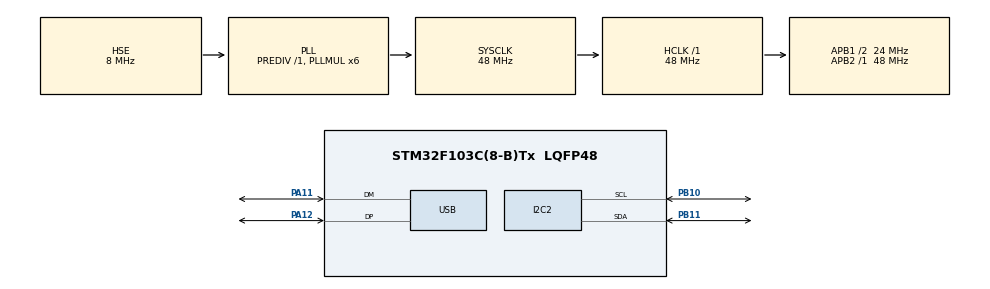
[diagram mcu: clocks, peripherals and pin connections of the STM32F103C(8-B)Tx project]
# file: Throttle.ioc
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I2C2.I2C_Mode=I2C_Fast
Mcu.Family=STM32F1
Mcu.Name=STM32F103C(8-B)Tx
Mcu.Package=LQFP48
NVIC.PriorityGroup=NVIC_PRIORITYGROUP_4
NVIC.USB_LP_CAN1_RX0_IRQn=true\:0\:0\:false\:false\:true\:false\:true\:true
PA11.Mode=Device
PA11.Signal=USB_DM
PA12.Mode=Device
PA12.Signal=USB_DP
PA13.Mode=Serial_Wire
PA13.Signal=SYS_JTMS-SWDIO
PA14.Mode=Serial_Wire
PA14.Signal=SYS_JTCK-SWCLK
PB10.Mode=I2C
PB10.Signal=I2C2_SCL
PB11.Mode=I2C
PB11.Signal=I2C2_SDA
PD0-OSC_IN.Mode=HSE-External-Oscillator
PD0-OSC_IN.Signal=RCC_OSC_IN
PD1-OSC_OUT.Mode=HSE-External-Oscillator
PD1-OSC_OUT.Signal=RCC_OSC_OUT
ProjectManager.HeapSize=0x200
ProjectManager.StackSize=0x400
ProjectManager.TargetToolchain=STM32CubeIDE
RCC.AHBFreq_Value=48000000
RCC.APB1CLKDivider=RCC_HCLK_DIV2
RCC.APB1Freq_Value=24000000
RCC.APB1TimFreq_Value=48000000
RCC.APB2Freq_Value=48000000
RCC.APB2TimFreq_Value=48000000
RCC.HCLKFreq_Value=48000000
RCC.PLLMUL=RCC_PLL_MUL6
RCC.SYSCLKFreq_VALUE=48000000
RCC.SYSCLKSource=RCC_SYSCLKSOURCE_PLLCLK
RCC.USBFreq_Value=48000000
USB_DEVICE.CLASS_NAME_FS=HID
USB_DEVICE.PRODUCT_STRING_HID_FS=Throttle
USB_DEVICE.VirtualMode=Hid
USB_DEVICE.VirtualModeFS=Hid_FS
VP_USB_DEVICE_VS_USB_DEVICE_HID_FS.Mode=HID_FS
board=custom

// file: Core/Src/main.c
/* USER CODE BEGIN Header */
/**
  ******************************************************************************
  * @file           : main.c
  * @brief          : Main program body
  ******************************************************************************
  * @attention
  *
  * Copyright (c) 2023 STMicroelectronics.
  * All rights reserved.
  *
  * This software is licensed under terms that can be found in the LICENSE file
  * in the root directory of this software component.
  * If no LICENSE file comes with this software, it is provided AS-IS.
  *
  ******************************************************************************
  */
/* USER CODE END Header */
#include <ads1115.h>
#include "main.h"
#include "usb_device.h"

/* USER CODE BEGIN Includes */
#include <stdbool.h>
#include <stdint.h>
#include <stdlib.h>
#include "usbd_hid.h"
#include "usb_hid_keys.h"
/* USER CODE END Includes */

/* USER CODE BEGIN PTD */
typedef enum
{
  AXIS_PROP = 0,
  AXIS_THROTTLE,
  AXIS_MIXTURE

} axis_index_t;
/* USER CODE END PTD */

/* USER CODE BEGIN PD */
#define PROP_LOWER_LIMIT       600
#define PROP_CENTER          14914
#define PROP_UPPER_LIMIT     26300

#define THROTTLE_LOWER_LIMIT    10
#define THROTTLE_CENTER      11435
#define THROTTLE_UPPER_LIMIT 25300

#define MIXTURE_LOWER_LIMIT     10
#define MIXTURE_CENTER       13740
#define MIXTURE_UPPER_LIMIT  26300
/* USER CODE END PD */

I2C_HandleTypeDef hi2c2;

/* USER CODE BEGIN PV */
static uint16_t axis_data[3] = { 0 };
/* USER CODE END PV */

/* Private function pro
 * totypes -----------------------------------------------*/
void SystemClock_Config(void);
static void MX_GPIO_Init(void);
static void MX_I2C2_Init(void);

int main(void)
{
  /* USER CODE BEGIN 1 */
  extern USBD_HandleTypeDef hUsbDeviceFS;
  uint8_t hid_report[8] = { 0 };
  /* USER CODE END 1 */

  /* MCU Configuration--------------------------------------------------------*/

  /* Reset of all peripherals, Initializes the Flash interface and the Systick. */
  HAL_Init();

  /* Configure the system clock */
  SystemClock_Config();

  /* Initialize all configured peripherals */
  MX_GPIO_Init();
  MX_USB_DEVICE_Init();
  MX_I2C2_Init();
  /* USER CODE BEGIN 2 */
  ads1115_init();
  /* USER CODE END 2 */

  /* Infinite loop */
  while (1)
  {

    /* USER CODE BEGIN 3 */
    for (axis_index_t index = 0; index <= AXIS_MIXTURE; index += 1)
    {
      static uint64_t prev_percentage[3] = { 50, 50, 50 };

      uint8_t  channel;
      int16_t  lower_limit;
      int16_t  center;
      int16_t  upper_limit;
      uint64_t percentage[3];

      switch (index)
      {
        case AXIS_PROP:
          channel     = AXIS_THROTTLE;
          lower_limit = PROP_LOWER_LIMIT;
          center      = PROP_CENTER;
          upper_limit = PROP_UPPER_LIMIT;
          break;
        case AXIS_THROTTLE:
          channel     = AXIS_MIXTURE;
          lower_limit = THROTTLE_LOWER_LIMIT;
          center      = THROTTLE_CENTER;
          upper_limit = THROTTLE_UPPER_LIMIT;
          break;
        case AXIS_MIXTURE:
          channel     = AXIS_PROP;
          lower_limit = MIXTURE_LOWER_LIMIT;
          center      = MIXTURE_CENTER;
          upper_limit = MIXTURE_UPPER_LIMIT;
          break;
      }

      ads1115_read((int16_t*)&axis_data[index], lower_limit, upper_limit);
      ads1115_set_channel(channel);

      if (axis_data[index] <= center)
      {
        percentage[index] = (50ULL * axis_data[index] + (center - lower_limit) / 2) / (center - lower_limit);

        if (percentage[index] > 50)
        {
          percentage[index] = 50;
        }
        else if (percentage[index] < 0)
        {
          percentage[index] = 0;
        }
      }
      else
      {
        percentage[index] = (100ULL * axis_data[index] + (upper_limit - lower_limit) / 2) / (upper_limit - lower_limit);

        if (percentage[index] > 100)
        {
          percentage[index] = 100;
        }
        else if (percentage[index] < 51)
        {
          percentage[index] = 51;
        }
      }

      hid_report[0] = KEY_MOD_LCTRL;

      switch (index)
      {
        case AXIS_PROP:
          break;
        case AXIS_THROTTLE:
          hid_report[2] = KEY_T;

          switch (percentage[index])
          {
            case 36:
            case 37:
            case 38:
            case 39:
            case 40:
              hid_report[3] = KEY_0;
              break;
            case 45:
              hid_report[3] = KEY_1;
              break;
            case 50:
                hid_report[3] = KEY_2;
              break;
            case 55:
              hid_report[3] = KEY_3;
              break;
            case 60:
              hid_report[3] = KEY_4;
              break;
            case 65:
              hid_report[3] = KEY_5;
              break;
            case 70:
              hid_report[3] = KEY_6;
              break;
            case 75:
              hid_report[3] = KEY_7;
              break;
            case 80:
              hid_report[3] = KEY_8;
              break;
            case 90:
              hid_report[3] = KEY_9;
            case 100:
              hid_report[3] = KEY_EQUAL;
              break;
            default:
              if ((prev_percentage[index] < percentage[index]))
              {
                hid_report[3] = KEY_RIGHTBRACE;
              }
              else if ((prev_percentage[index] > percentage[index]) || (0 == prev_percentage[index] && 0 == percentage[index]))
              {
                hid_report[3] = KEY_LEFTBRACE;
              }
              else
              {
                prev_percentage[index] = percentage[index];
                HAL_Delay(10);
                continue;
              }
              break;
          }
          break;

        case AXIS_MIXTURE:
          hid_report[2] = KEY_M;

          if (percentage[index] == 0) /* CUT OFF. */
          {
            hid_report[3] = KEY_0;
          }
          else if (prev_percentage[index] == 0) /* Transition from CUT OFF. */
          {
            if (percentage[index] >= 70) /* HIGH IDLE. */
            {
              hid_report[3] = KEY_1;
            }
            else if (percentage[index] > 0) /* LOW IDLE. */
            {
              hid_report[3] = KEY_RIGHTBRACE;
            }
          }
          else
          {
            if ((percentage[index] >= 70)) /* HIGH IDLE. */
            {
              hid_report[3] = KEY_1;
            }
            else if ((percentage[index] <= 30) && (percentage[index] != 0))
            {
              hid_report[3] = KEY_LEFTBRACE; /* LOW IDLE. */
            }
            else
            {
              prev_percentage[index] = percentage[index];
              HAL_Delay(10);
              continue;
            }
          }
          break;
      }

      if ((index == 1) ||
          ((index == 2) && ((abs(prev_percentage[index] - percentage[index]) >= 1))))
      {
        USBD_HID_SendReport(&hUsbDeviceFS, hid_report, 8);
        HAL_Delay(20);

        /* Release keys. */
        for (int i = 0; i < 8; i += 1)
        {
          hid_report[i] = KEY_NONE;
        }
        USBD_HID_SendReport(&hUsbDeviceFS, hid_report, 8);
      }

      prev_percentage[index] = percentage[index];
      HAL_Delay(10);
    }
  }
  /* USER CODE END 3 */
}

void SystemClock_Config(void)
{
  RCC_OscInitTypeDef RCC_OscInitStruct = {0};
  RCC_ClkInitTypeDef RCC_ClkInitStruct = {0};
  RCC_PeriphCLKInitTypeDef PeriphClkInit = {0};

  /** Initializes the RCC Oscillators according to the specified parameters
  * in the RCC_OscInitTypeDef structure.
  */
  RCC_OscInitStruct.OscillatorType = RCC_OSCILLATORTYPE_HSE;
  RCC_OscInitStruct.HSEState = RCC_HSE_ON;
  RCC_OscInitStruct.HSEPredivValue = RCC_HSE_PREDIV_DIV1;
  RCC_OscInitStruct.HSIState = RCC_HSI_ON;
  RCC_OscInitStruct.PLL.PLLState = RCC_PLL_ON;
  RCC_OscInitStruct.PLL.PLLSource = RCC_PLLSOURCE_HSE;
  RCC_OscInitStruct.PLL.PLLMUL = RCC_PLL_MUL6;
  if (HAL_RCC_OscConfig(&RCC_OscInitStruct) != HAL_OK)
  {
    Error_Handler();
  }

  /** Initializes the CPU, AHB and APB buses clocks
  */
  RCC_ClkInitStruct.ClockType = RCC_CLOCKTYPE_HCLK|RCC_CLOCKTYPE_SYSCLK
                              |RCC_CLOCKTYPE_PCLK1|RCC_CLOCKTYPE_PCLK2;
  RCC_ClkInitStruct.SYSCLKSource = RCC_SYSCLKSOURCE_PLLCLK;
  RCC_ClkInitStruct.AHBCLKDivider = RCC_SYSCLK_DIV1;
  RCC_ClkInitStruct.APB1CLKDivider = RCC_HCLK_DIV2;
  RCC_ClkInitStruct.APB2CLKDivider = RCC_HCLK_DIV1;

  if (HAL_RCC_ClockConfig(&RCC_ClkInitStruct, FLASH_LATENCY_1) != HAL_OK)
  {
    Error_Handler();
  }
  PeriphClkInit.PeriphClockSelection = RCC_PERIPHCLK_USB;
  PeriphClkInit.UsbClockSelection = RCC_USBCLKSOURCE_PLL;
  if (HAL_RCCEx_PeriphCLKConfig(&PeriphClkInit) != HAL_OK)
  {
    Error_Handler();
  }
}

static void MX_I2C2_Init(void)
{

  hi2c2.Instance = I2C2;
  hi2c2.Init.ClockSpeed = 400000;
  hi2c2.Init.DutyCycle = I2C_DUTYCYCLE_2;
  hi2c2.Init.OwnAddress1 = 0;
  hi2c2.Init.AddressingMode = I2C_ADDRESSINGMODE_7BIT;
  hi2c2.Init.DualAddressMode = I2C_DUALADDRESS_DISABLE;
  hi2c2.Init.OwnAddress2 = 0;
  hi2c2.Init.GeneralCallMode = I2C_GENERALCALL_DISABLE;
  hi2c2.Init.NoStretchMode = I2C_NOSTRETCH_DISABLE;
  if (HAL_I2C_Init(&hi2c2) != HAL_OK)
  {
    Error_Handler();
  }

}

static void MX_GPIO_Init(void)
{

  /* GPIO Ports Clock Enable */
  __HAL_RCC_GPIOD_CLK_ENABLE();
  __HAL_RCC_GPIOB_CLK_ENABLE();
  __HAL_RCC_GPIOA_CLK_ENABLE();

}

void Error_Handler(void)
{
  __disable_irq();
  while (1)
  {
  }
}
